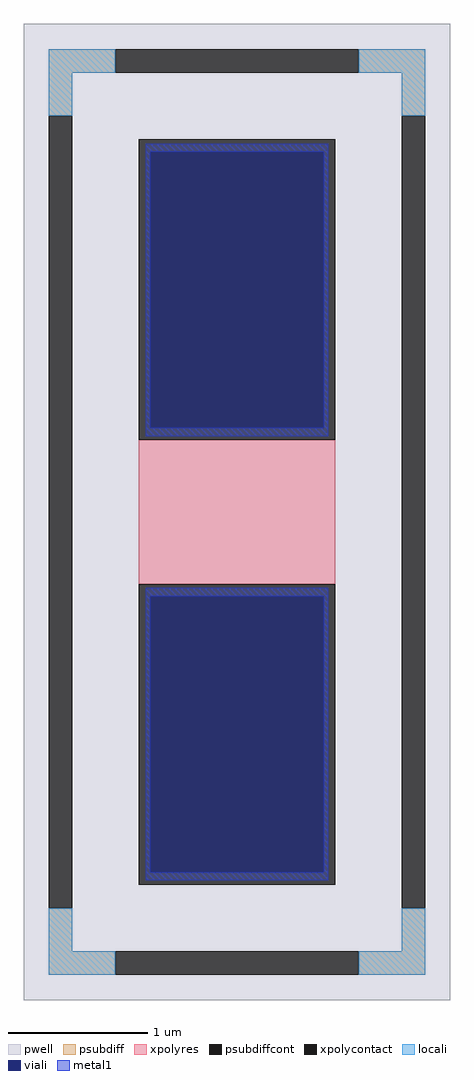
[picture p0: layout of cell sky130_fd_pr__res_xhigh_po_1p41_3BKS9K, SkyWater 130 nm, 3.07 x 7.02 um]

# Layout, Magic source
magic
tech sky130A
magscale 1 2
<< pwell >>
rect -307 -702 307 702
<< psubdiff >>
rect -271 632 -175 666
rect 175 632 271 666
rect -271 570 -237 632
rect 237 570 271 632
rect -271 -632 -237 -570
rect 237 -632 271 -570
rect -271 -666 -175 -632
rect 175 -666 271 -632
<< psubdiffcont >>
rect -175 632 175 666
rect -271 -570 -237 570
rect 237 -570 271 570
rect -175 -666 175 -632
<< xpolycontact >>
rect -141 104 141 536
rect -141 -536 141 -104
<< xpolyres >>
rect -141 -104 141 104
<< locali >>
rect -271 632 -175 666
rect 175 632 271 666
rect -271 570 -237 632
rect 237 570 271 632
rect -271 -632 -237 -570
rect 237 -632 271 -570
rect -271 -666 -175 -632
rect 175 -666 271 -632
<< viali >>
rect -125 121 125 518
rect -125 -518 125 -121
<< metal1 >>
rect -131 518 131 530
rect -131 121 -125 518
rect 125 121 131 518
rect -131 109 131 121
rect -131 -121 131 -109
rect -131 -518 -125 -121
rect 125 -518 131 -121
rect -131 -530 131 -518
<< properties >>
string FIXED_BBOX -254 -649 254 649
string gencell sky130_fd_pr__res_xhigh_po_1p41
string library sky130
string parameters w 1.410 l 1.2 m 1 nx 1 wmin 1.410 lmin 0.50 rho 2000 val 1.969k dummy 0 dw 0.0 term 188.2 sterm 0.0 caplen 0 wmax 1.410 guard 1 glc 1 grc 1 gtc 1 gbc 1 compatible {sky130_fd_pr__res_xhigh_po_0p35  sky130_fd_pr__res_xhigh_po_0p69 sky130_fd_pr__res_xhigh_po_1p41  sky130_fd_pr__res_xhigh_po_2p85 sky130_fd_pr__res_xhigh_po_5p73} snake 0 full_metal 1 n_guard 0 hv_guard 0 vias 1 viagb 0 viagt 0 viagl 0 viagr 0
<< end >>
